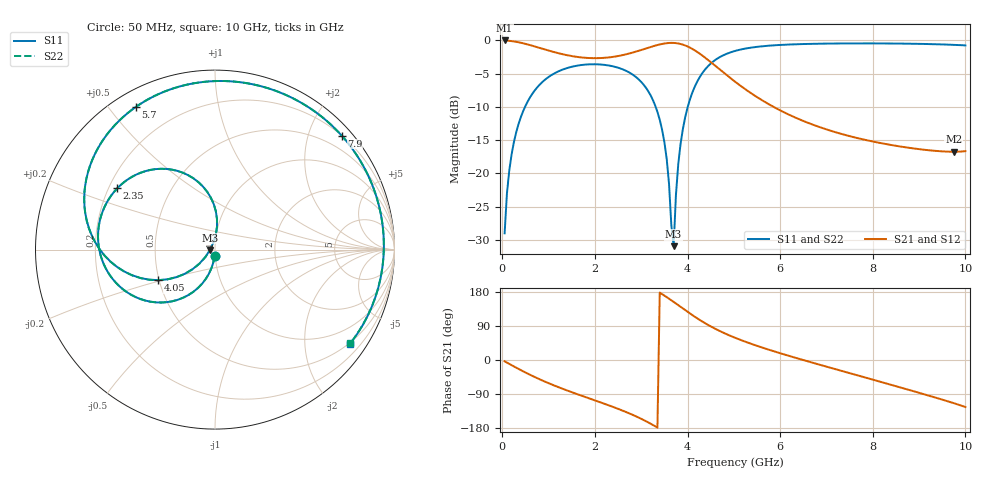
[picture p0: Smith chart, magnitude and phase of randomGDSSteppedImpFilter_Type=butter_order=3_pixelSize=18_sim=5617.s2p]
! freq	dB(S11)	phase(S11)	dB(S12)	phase(S12)
!  dB(S21)	phase(S21)	dB(S22)	phase(S22)
!S-par simulation data
#  GHz  S  DB  R 50
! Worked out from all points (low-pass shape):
!   200 points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, 50 MHz to 10 GHz, reference 50 ohm
!   highest |S21| = -0.01 dB at 50 MHz (marker M1); lowest = -16.7 dB at 9.75 GHz (marker M2)
!   |S21| within 3 dB of the highest: start of sweep to 4.455 GHz
!   lowest |S11| = -30.9 dB at 3.7 GHz (marker M3), VSWR 1.06, Z = 47.2 - j0.218 ohm
!   |S11| at or under -10 dB: start of sweep to 490.4 MHz; 3.312 GHz to 4.004 GHz (692 MHz wide, 18.9 % of centre)
!   |S22| runs from -31.0 to -0.4 dB; largest |S21 - S12| = 0
!   S11 on the Smith chart (normalised r, x): 50 MHz: 0.99, -0.07; 2.35 GHz: 0.23, +0.27; 4.05 GHz: 0.50, -0.19; 5.7 GHz: 0.06, +0.59; 7.9 GHz: 0.20, +2.59; 10 GHz: 0.47, -3.11
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0.05  -29.00 -93.7  -0.01 -3.5  -0.01 -3.5  -29.00 -93.7
0.1  -23.04 -97.3  -0.03 -6.9  -0.03 -6.9  -23.04 -97.3
0.2  -17.17 -104.1  -0.11 -13.6  -0.11 -13.6  -17.17 -104.1
0.5  -9.85 -123.5  -0.52 -33.0  -0.52 -33.0  -9.85 -123.5
1  -5.50 -151.7  -1.53 -61.2  -1.53 -61.2  -5.50 -151.7
1.75  -3.67 173.7  -2.59 -95.9  -2.59 -95.9  -3.67 173.7
2.35  -3.84 147.9  -2.52 -121.9  -2.52 -121.9  -3.84 147.9
2.95  -5.89 118.5  -1.55 -152.2  -1.55 -152.2  -5.89 118.5
3.4  -11.93 91.6  -0.61 177.8  -0.61 177.8  -11.93 91.6
3.55  -17.81 85.1  -0.42 166.0  -0.42 166.0  -17.81 85.0
3.7  -30.92 -175.4  -0.38 153.3  -0.38 153.3  -30.99 -175.1
3.8  -18.58 -138.0  -0.46 144.6  -0.46 144.6  -18.59 -137.9
4.05  -8.91 -151.7  -1.08 122.9  -1.08 122.9  -8.91 -151.6
4.55  -3.20 173.3  -3.54 85.4  -3.54 85.4  -3.20 173.4
5.05  -1.54 146.3  -6.33 57.5  -6.33 57.5  -1.54 146.4
5.7  -0.83 119.0  -9.37 29.3  -9.37 29.3  -0.83 119.1
6.7  -0.52 83.2  -12.65 -7.2  -12.65 -7.2  -0.52 83.4
7.9  -0.45 42.0  -15.05 -48.4  -15.05 -48.4  -0.45 42.2
8.35  -0.46 26.2  -15.66 -63.9  -15.66 -63.9  -0.46 26.5
9.05  -0.53 1.1  -16.39 -88.3  -16.39 -88.3  -0.53 1.4
9.75  -0.67 -25.1  -16.74 -113.9  -16.74 -113.9  -0.67 -24.8
10  -0.75 -35.0  -16.65 -124.2  -16.65 -124.2  -0.76 -34.7
